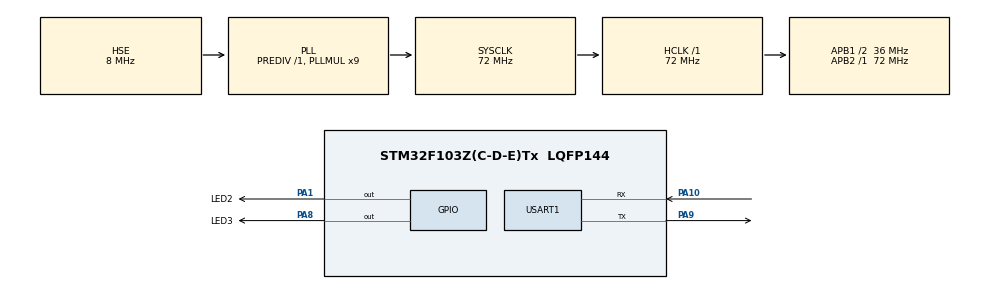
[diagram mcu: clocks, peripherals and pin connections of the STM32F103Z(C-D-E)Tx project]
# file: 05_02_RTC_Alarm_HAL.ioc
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Mcu.Family=STM32F1
Mcu.Name=STM32F103Z(C-D-E)Tx
Mcu.Package=LQFP144
NVIC.PriorityGroup=NVIC_PRIORITYGROUP_4
NVIC.USART1_IRQn=true\:5\:0\:true\:false\:true\:true\:true\:true
OSC_IN.Mode=HSE-External-Oscillator
OSC_IN.Signal=RCC_OSC_IN
OSC_OUT.Mode=HSE-External-Oscillator
OSC_OUT.Signal=RCC_OSC_OUT
PA1.GPIO_Label=LED2
PA1.GPIO_Speed=GPIO_SPEED_FREQ_HIGH
PA1.PinState=GPIO_PIN_SET
PA1.Signal=GPIO_Output
PA10.Mode=Asynchronous
PA10.Signal=USART1_RX
PA13.Mode=Serial_Wire
PA13.Signal=SYS_JTMS-SWDIO
PA14.Mode=Serial_Wire
PA14.Signal=SYS_JTCK-SWCLK
PA8.GPIO_Label=LED3
PA8.GPIO_Speed=GPIO_SPEED_FREQ_HIGH
PA8.PinState=GPIO_PIN_SET
PA8.Signal=GPIO_Output
PA9.Mode=Asynchronous
PA9.Signal=USART1_TX
PC14-OSC32_IN.Mode=LSE-External-Oscillator
PC14-OSC32_IN.Signal=RCC_OSC32_IN
PC15-OSC32_OUT.Mode=LSE-External-Oscillator
PC15-OSC32_OUT.Signal=RCC_OSC32_OUT
ProjectManager.HeapSize=0x200
ProjectManager.StackSize=0x400
ProjectManager.TargetToolchain=MDK-ARM V5.32
RCC.ADCPresc=RCC_ADCPCLK2_DIV6
RCC.AHBFreq_Value=72000000
RCC.APB1CLKDivider=RCC_HCLK_DIV2
RCC.APB1Freq_Value=36000000
RCC.APB1TimFreq_Value=72000000
RCC.APB2Freq_Value=72000000
RCC.APB2TimFreq_Value=72000000
RCC.HCLKFreq_Value=72000000
RCC.PLLMUL=RCC_PLL_MUL9
RCC.PLLSourceVirtual=RCC_PLLSOURCE_HSE
RCC.RTCClockSelection=RCC_RTCCLKSOURCE_LSE
RCC.SYSCLKFreq_VALUE=72000000
RCC.SYSCLKSource=RCC_SYSCLKSOURCE_PLLCLK
RCC.USBFreq_Value=72000000
USART1.VirtualMode=VM_ASYNC
VP_RTC_VS_RTC_Activate.Mode=RTC_Enabled
board=custom

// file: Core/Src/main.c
/* USER CODE BEGIN Header */
/**
  ******************************************************************************
  * @file           : main.c
  * @brief          : Main program body
  ******************************************************************************
  * @attention
  *
  * Copyright (c) 2025 STMicroelectronics.
  * All rights reserved.
  *
  * This software is licensed under terms that can be found in the LICENSE file
  * in the root directory of this software component.
  * If no LICENSE file comes with this software, it is provided AS-IS.
  *
  ******************************************************************************
  */
/* USER CODE END Header */
#include "main.h"
#include "rtc.h"
#include "usart.h"
#include "gpio.h"

void SystemClock_Config(void);
/* USER CODE BEGIN PFP */

// 函数声明: 设置RTC闹钟，多少秒之后产生闹钟事件
void RTC_SetAlarm(uint32_t seconds);

/* USER CODE END PFP */

int main(void)
{

  /* MCU Configuration--------------------------------------------------------*/

  /* Reset of all peripherals, Initializes the Flash interface and the Systick. */
  HAL_Init();

  /* Configure the system clock */
  SystemClock_Config();

  /* Initialize all configured peripherals */
  MX_GPIO_Init();
  MX_USART1_UART_Init();
  MX_RTC_Init();
  /* USER CODE BEGIN 2 */

  // printf("STM32 LowPower Stop HAL \n");

  // 判断 WUF 标志位
  if(__HAL_PWR_GET_FLAG(PWR_FLAG_WU) == SET)
  {
    printf ("Wakeup from Standby Mode \n");

    // 清除 WUF 标志位
    __HAL_PWR_CLEAR_FLAG(PWR_FLAG_WU);
  }else{
    printf ("Application Start \n");
  }

  // 点亮 LED2
  HAL_GPIO_WritePin(LED2_GPIO_Port, LED2_Pin, GPIO_PIN_RESET);

  printf("5s later Standby... ");
  HAL_Delay(5000);
  printf("Standbying... \n");
  HAL_Delay(1); //保证打印完成

  // 打印 3s 后唤醒
  printf("3s later wakeup \n");
  // 设置RTC闹钟，3秒后产生闹钟事件
  RTC_SetAlarm(3);

  // 进入Standby低功耗模式(使用 WKUP引脚 唤醒) (唤醒后从头开始执行 ,此句后面的都不会再执行)
  HAL_PWR_EnterSTANDBYMode();

  /* USER CODE END 2 */

  /* Infinite loop */
  while (1)
  {

    /* USER CODE BEGIN 3 */

    // 闪烁 LED2
    HAL_GPIO_TogglePin(LED2_GPIO_Port, LED2_Pin);
    HAL_Delay(500);

  }
  /* USER CODE END 3 */
}

void SystemClock_Config(void)
{
  RCC_OscInitTypeDef RCC_OscInitStruct = {0};
  RCC_ClkInitTypeDef RCC_ClkInitStruct = {0};
  RCC_PeriphCLKInitTypeDef PeriphClkInit = {0};

  /** Initializes the RCC Oscillators according to the specified parameters
  * in the RCC_OscInitTypeDef structure.
  */
  RCC_OscInitStruct.OscillatorType = RCC_OSCILLATORTYPE_HSE|RCC_OSCILLATORTYPE_LSE;
  RCC_OscInitStruct.HSEState = RCC_HSE_ON;
  RCC_OscInitStruct.HSEPredivValue = RCC_HSE_PREDIV_DIV1;
  RCC_OscInitStruct.LSEState = RCC_LSE_ON;
  RCC_OscInitStruct.HSIState = RCC_HSI_ON;
  RCC_OscInitStruct.PLL.PLLState = RCC_PLL_ON;
  RCC_OscInitStruct.PLL.PLLSource = RCC_PLLSOURCE_HSE;
  RCC_OscInitStruct.PLL.PLLMUL = RCC_PLL_MUL9;
  if (HAL_RCC_OscConfig(&RCC_OscInitStruct) != HAL_OK)
  {
    Error_Handler();
  }

  /** Initializes the CPU, AHB and APB buses clocks
  */
  RCC_ClkInitStruct.ClockType = RCC_CLOCKTYPE_HCLK|RCC_CLOCKTYPE_SYSCLK
                              |RCC_CLOCKTYPE_PCLK1|RCC_CLOCKTYPE_PCLK2;
  RCC_ClkInitStruct.SYSCLKSource = RCC_SYSCLKSOURCE_PLLCLK;
  RCC_ClkInitStruct.AHBCLKDivider = RCC_SYSCLK_DIV1;
  RCC_ClkInitStruct.APB1CLKDivider = RCC_HCLK_DIV2;
  RCC_ClkInitStruct.APB2CLKDivider = RCC_HCLK_DIV1;

  if (HAL_RCC_ClockConfig(&RCC_ClkInitStruct, FLASH_LATENCY_2) != HAL_OK)
  {
    Error_Handler();
  }
  PeriphClkInit.PeriphClockSelection = RCC_PERIPHCLK_RTC;
  PeriphClkInit.RTCClockSelection = RCC_RTCCLKSOURCE_LSE;
  if (HAL_RCCEx_PeriphCLKConfig(&PeriphClkInit) != HAL_OK)
  {
    Error_Handler();
  }
}

/* USER CODE BEGIN 4 */

// 函数实现: 设置RTC闹钟，多少秒之后产生闹钟事件
void RTC_SetAlarm(uint32_t seconds){
  // 获取当前 RTC 计数器的时间
  RTC_TimeTypeDef stime;  // 定义结构体用来保存获取到的数据
  HAL_RTC_GetTime(&hrtc, &stime, RTC_FORMAT_BIN);

  // 设置 RTC 闹钟的时间
  stime.Seconds += (seconds - 1);
  RTC_AlarmTypeDef sAlarm = {   // 定义结构体用来保存闹钟时间
    stime,
    1
  };
  // 设置 RTC 闹钟
  HAL_RTC_SetAlarm(&hrtc, &sAlarm, RTC_FORMAT_BIN);
}

/* USER CODE END 4 */

void Error_Handler(void)
{
  __disable_irq();
  while (1)
  {
  }
}
